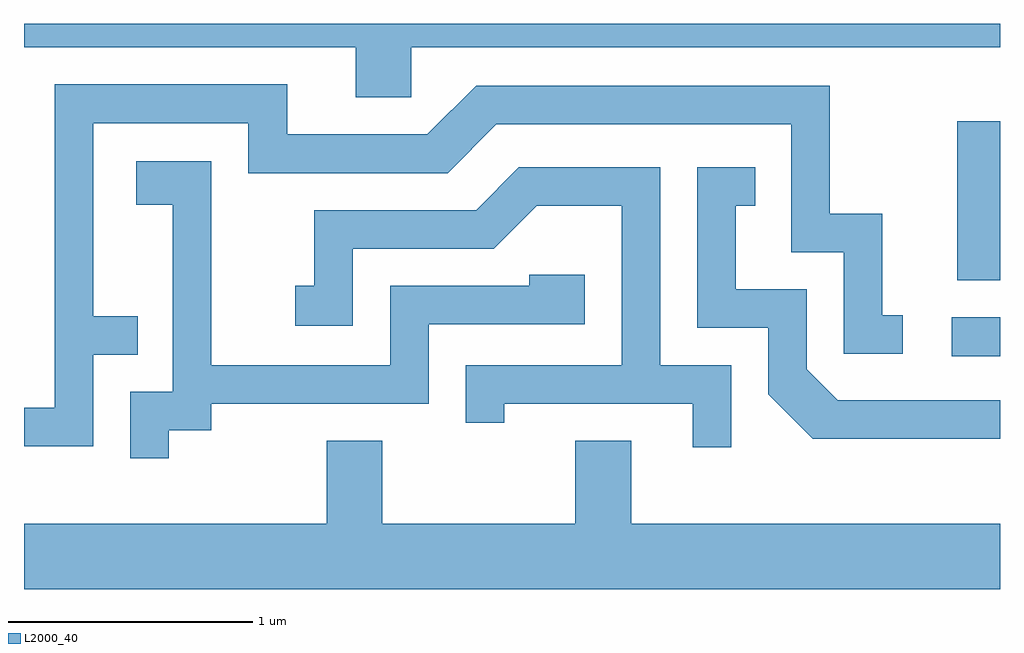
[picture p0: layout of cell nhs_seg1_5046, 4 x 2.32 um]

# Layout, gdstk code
import gdstk
lib = gdstk.Library(unit=1e-6, precision=1e-09)
def R(c, l, rs):  # rectangles x0, y0, x1, y1
    for r in rs: c.add(gdstk.rectangle(r[:2], r[2:], *l))
def P(c, l, *ps):  # polygons
    for p in ps: c.add(gdstk.Polygon(p, *l))
L2000_40 = (2000, 40)

nhs_seg1_5046 = lib.new_cell('nhs_seg1_5046')
R(nhs_seg1_5046, L2000_40, [(341.413,858.351,341.611,858.509), (341.436,858.661,341.611,859.314)])
P(nhs_seg1_5046, L2000_40, [(339.199,859.616),(341.611,859.616),(341.611,859.712),(337.611,859.712),(337.611,859.616),(338.971,859.616),(338.971,859.411),(339.199,859.411)],
  [(337.894,858.356),(338.078,858.356),(338.078,858.514),(337.894,858.514),(337.894,859.306),(338.531,859.306),(338.531,859.101),(339.347,859.101),(339.547,859.301),(340.756,859.301),(340.756,858.776),(340.971,858.776),(340.971,858.361),(341.213,858.361),(341.213,858.519),(341.129,858.519),(341.129,858.934),(340.914,858.934),(340.914,859.459),(339.464,859.459),(339.264,859.259),(338.689,859.259),(338.689,859.464),(337.736,859.464),(337.736,858.139),(337.611,858.139),(337.611,857.981),(337.894,857.981)],
  [(338.204,858.046),(338.379,858.046),(338.379,858.156),(339.269,858.156),(339.269,858.481),(339.909,858.481),(339.909,858.684),(339.681,858.684),(339.681,858.639),(339.111,858.639),(339.111,858.314),(338.379,858.314),(338.379,859.149),(338.071,859.149),(338.071,858.971),(338.221,858.971),(338.221,858.204),(338.046,858.204),(338.046,857.933),(338.204,857.933)],
  [(340.509,858.314),(340.219,858.314),(340.219,859.124),(339.639,859.124),(339.464,858.949),(338.801,858.949),(338.801,858.639),(338.723,858.639),(338.723,858.476),(338.959,858.476),(338.959,858.791),(339.537,858.791),(339.712,858.966),(340.061,858.966),(340.061,858.314),(339.421,858.314),(339.421,858.078),(339.579,858.078),(339.579,858.156),(340.351,858.156),(340.351,857.978),(340.509,857.978)],
  [(341.611,858.169),(340.947,858.169),(340.819,858.297),(340.819,858.624),(340.529,858.624),(340.529,858.966),(340.608,858.966),(340.608,859.124),(340.371,859.124),(340.371,858.466),(340.661,858.466),(340.661,858.194),(340.844,858.011),(341.611,858.011)],
  [(341.611,857.664),(340.099,857.664),(340.099,858.004),(339.871,858.004),(339.871,857.664),(339.079,857.664),(339.079,858.004),(338.851,858.004),(338.851,857.664),(337.611,857.664),(337.611,857.396),(341.611,857.396)])

lib.write_gds('nhs_seg1_5046.gds')
